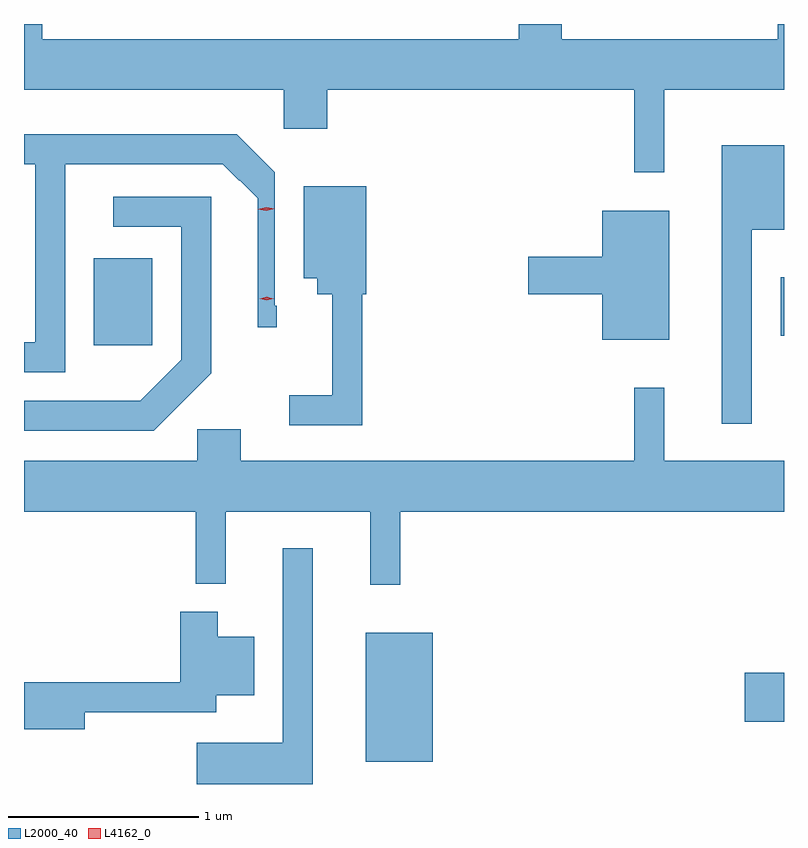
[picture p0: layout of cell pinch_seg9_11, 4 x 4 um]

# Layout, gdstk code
import gdstk
lib = gdstk.Library(unit=1e-6, precision=1e-09)
def R(c, l, rs):  # rectangles x0, y0, x1, y1
    for r in rs: c.add(gdstk.rectangle(r[:2], r[2:], *l))
def P(c, l, *ps):  # polygons
    for p in ps: c.add(gdstk.Polygon(p, *l))
L2000_40 = (2000, 40)
L4162_0 = (4162, 0)

pinch_seg9_11 = lib.new_cell('pinch_seg9_11')
R(pinch_seg9_11, L2000_40, [(1066.151,1963.861,1066.504,1964.539), (1068.146,1964.071,1068.353,1964.329), (1064.721,1966.051,1065.029,1966.509), (1068.336,1966.101,1068.353,1966.409)])
P(pinch_seg9_11, L2000_40, [(1067.724,1967.396),(1068.353,1967.396),(1068.353,1967.743),(1068.321,1967.743),(1068.321,1967.664),(1067.184,1967.664),(1067.184,1967.743),(1066.956,1967.743),(1066.956,1967.664),(1064.449,1967.664),(1064.449,1967.743),(1064.353,1967.743),(1064.353,1967.396),(1065.721,1967.396),(1065.721,1967.191),(1065.949,1967.191),(1065.949,1967.396),(1067.566,1967.396),(1067.566,1966.963),(1067.724,1966.963)],
  [(1064.569,1967.006),(1065.399,1967.006),(1065.487,1966.918),(1065.488,1966.92),(1065.583,1966.825),(1065.583,1966.148),(1065.683,1966.148),(1065.683,1966.26),(1065.674,1966.26),(1065.674,1966.962),(1065.472,1967.164),(1064.353,1967.164),(1064.353,1967.006),(1064.411,1967.006),(1064.411,1966.069),(1064.353,1966.069),(1064.353,1965.911),(1064.569,1965.911)],
  [(1068.184,1966.661),(1068.353,1966.661),(1068.353,1967.104),(1068.026,1967.104),(1068.026,1965.638),(1068.184,1965.638)],
  [(1066.134,1966.321),(1066.154,1966.321),(1066.154,1966.889),(1065.826,1966.889),(1065.826,1966.406),(1065.896,1966.406),(1065.896,1966.321),(1065.976,1966.321),(1065.976,1965.789),(1065.748,1965.789),(1065.748,1965.631),(1066.134,1965.631)],
  [(1065.339,1965.904),(1065.339,1966.834),(1064.823,1966.834),(1064.823,1966.676),(1065.181,1966.676),(1065.181,1965.977),(1064.964,1965.759),(1064.353,1965.759),(1064.353,1965.601),(1065.037,1965.601)],
  [(1067.749,1966.759),(1067.396,1966.759),(1067.396,1966.519),(1067.006,1966.519),(1067.006,1966.321),(1067.396,1966.321),(1067.396,1966.081),(1067.749,1966.081)],
  [(1066.334,1965.176),(1068.353,1965.176),(1068.353,1965.444),(1067.724,1965.444),(1067.724,1965.828),(1067.566,1965.828),(1067.566,1965.444),(1065.494,1965.444),(1065.494,1965.609),(1065.266,1965.609),(1065.266,1965.444),(1064.353,1965.444),(1064.353,1965.176),(1065.256,1965.176),(1065.256,1964.798),(1065.414,1964.798),(1065.414,1965.176),(1066.176,1965.176),(1066.176,1964.793),(1066.334,1964.793)],
  [(1065.874,1964.983),(1065.716,1964.983),(1065.716,1963.959),(1065.261,1963.959),(1065.261,1963.743),(1065.874,1963.743)],
  [(1064.674,1964.121),(1065.364,1964.121),(1065.364,1964.211),(1065.564,1964.211),(1065.564,1964.519),(1065.374,1964.519),(1065.374,1964.649),(1065.176,1964.649),(1065.176,1964.279),(1064.353,1964.279),(1064.353,1964.031),(1064.674,1964.031)])
P(pinch_seg9_11, L4162_0, [(1065.628,1966.76),(1065.583,1966.768),(1065.583,1966.768),(1065.583,1966.768),(1065.628,1966.779),(1065.672,1966.771),(1065.672,1966.771),(1065.672,1966.77)],
  [(1065.63,1966.288),(1065.593,1966.298),(1065.592,1966.298),(1065.593,1966.298),(1065.63,1966.308),(1065.666,1966.298),(1065.667,1966.298),(1065.666,1966.298)])

lib.write_gds('pinch_seg9_11.gds')
